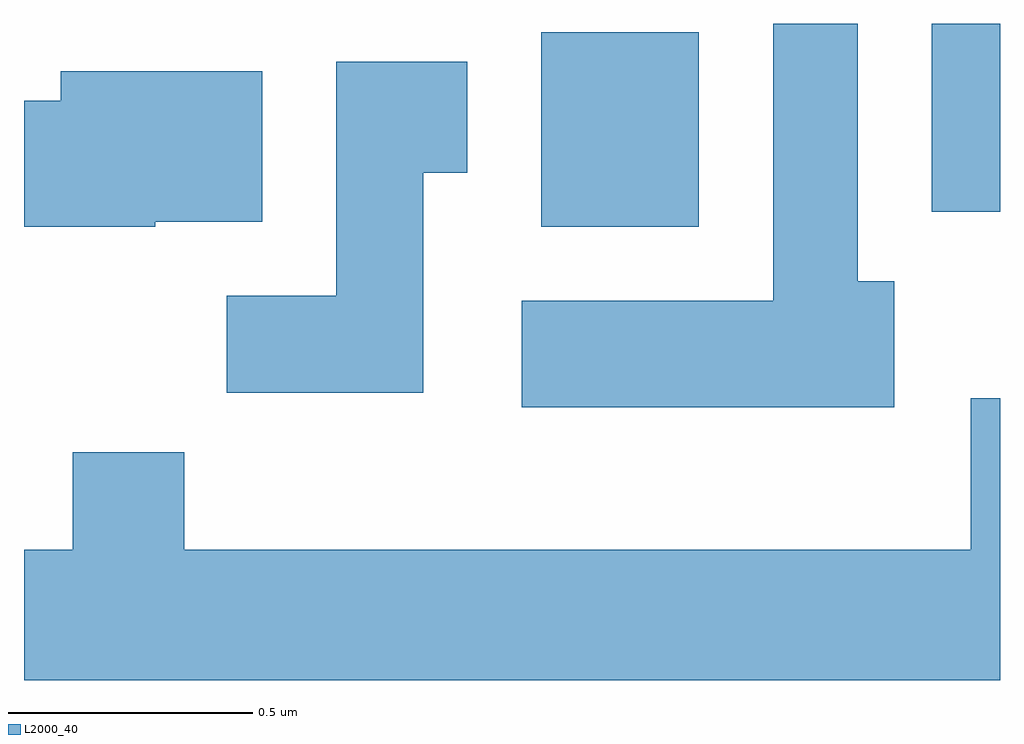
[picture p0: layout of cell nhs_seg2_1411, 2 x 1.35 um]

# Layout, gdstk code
import gdstk
lib = gdstk.Library(unit=1e-6, precision=1e-09)
def R(c, l, rs):  # rectangles x0, y0, x1, y1
    for r in rs: c.add(gdstk.rectangle(r[:2], r[2:], *l))
def P(c, l, *ps):  # polygons
    for p in ps: c.add(gdstk.Polygon(p, *l))
L2000_40 = (2000, 40)

nhs_seg2_1411 = lib.new_cell('nhs_seg2_1411')
R(nhs_seg2_1411, L2000_40, [(196.671,1020.386,196.994,1020.784), (197.471,1020.416,197.611,1020.802)])
P(nhs_seg2_1411, L2000_40, [(197.394,1020.274),(197.319,1020.274),(197.319,1020.802),(197.146,1020.802),(197.146,1020.234),(196.631,1020.234),(196.631,1020.016),(197.394,1020.016)],
  [(196.429,1020.496),(196.519,1020.496),(196.519,1020.724),(196.251,1020.724),(196.251,1020.244),(196.026,1020.244),(196.026,1020.046),(196.429,1020.046)],
  [(195.88,1020.396),(196.099,1020.396),(196.099,1020.704),(195.686,1020.704),(195.686,1020.644),(195.611,1020.644),(195.611,1020.386),(195.88,1020.386)],
  [(197.611,1020.034),(197.551,1020.034),(197.551,1019.724),(195.939,1019.724),(195.939,1019.924),(195.711,1019.924),(195.711,1019.724),(195.611,1019.724),(195.611,1019.456),(197.611,1019.456)])

lib.write_gds('nhs_seg2_1411.gds')
